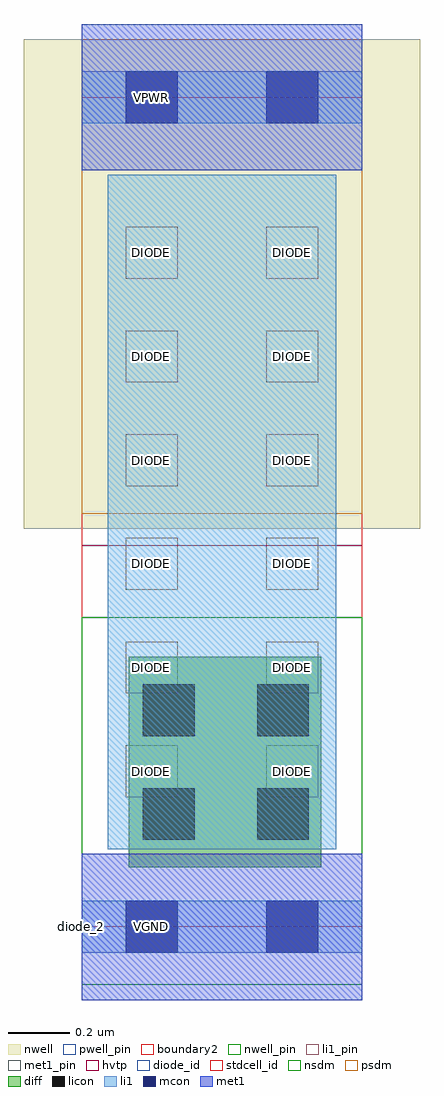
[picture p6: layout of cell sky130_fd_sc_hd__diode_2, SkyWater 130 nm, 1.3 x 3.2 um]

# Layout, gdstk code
import gdstk
lib = gdstk.Library(unit=1e-6, precision=1e-09)
def R(c, l, rs):  # rectangles x0, y0, x1, y1
    for r in rs: c.add(gdstk.rectangle(r[:2], r[2:], *l))
def A(c, l, x, y, w, h, nx, ny, dx, dy):  # array of equal rectangles
    R(c, l, [(x+i*dx, y+j*dy, x+i*dx+w, y+j*dy+h) for i in range(nx) for j in range(ny)])
nwell_pin = (64, 16)
nwell = (64, 20)
diff = (65, 20)
licon = (66, 44)
li1_pin = (67, 16)
li1 = (67, 20)
mcon = (67, 44)
met1_pin = (68, 16)
met1 = (68, 20)
hvtp = (78, 44)
stdcell_id = (81, 4)
diode_id = (81, 23)
nsdm = (93, 44)
psdm = (94, 20)
pwell_pin = (122, 16)
boundary2 = (236, 0)

sky130_fd_sc_hd__diode_2 = lib.new_cell('sky130_fd_sc_hd__diode_2')
R(sky130_fd_sc_hd__diode_2, nwell_pin, [(0.145,2.635,0.315,2.805)])
R(sky130_fd_sc_hd__diode_2, nwell, [(-0.19,1.305,1.11,2.91)])
R(sky130_fd_sc_hd__diode_2, diff, [(0.155,0.195,0.785,0.885)])
R(sky130_fd_sc_hd__diode_2, licon, [(0.2,0.285,0.37,0.455), (0.575,0.285,0.745,0.455), (0.2,0.625,0.37,0.795), (0.575,0.625,0.745,0.795)])
A(sky130_fd_sc_hd__diode_2, li1_pin, 0.145, 0.425, 0.17, 0.17, 1, 6, 0, 0.34)
A(sky130_fd_sc_hd__diode_2, li1_pin, 0.605, 0.425, 0.17, 0.17, 1, 6, 0, 0.34)
R(sky130_fd_sc_hd__diode_2, li1, [(0.085,0.255,0.835,2.465)])
R(sky130_fd_sc_hd__diode_2, mcon, [(0.145,-0.085,0.315,0.085), (0.605,-0.085,0.775,0.085), (0.145,2.635,0.315,2.805), (0.605,2.635,0.775,2.805)])
R(sky130_fd_sc_hd__diode_2, met1_pin, [(0.145,-0.085,0.315,0.085), (0.145,2.635,0.315,2.805)])
R(sky130_fd_sc_hd__diode_2, hvtp, [(0,1.25,0.92,2.72)])
R(sky130_fd_sc_hd__diode_2, stdcell_id, [(0,0,0.92,2.72)])
R(sky130_fd_sc_hd__diode_2, diode_id, [(0.155,0.195,0.785,0.885)])
R(sky130_fd_sc_hd__diode_2, nsdm, [(0,-0.19,0.92,1.015)])
R(sky130_fd_sc_hd__diode_2, psdm, [(0,1.355,0.92,2.91)])
R(sky130_fd_sc_hd__diode_2, pwell_pin, [(0.145,-0.085,0.315,0.085)])
R(sky130_fd_sc_hd__diode_2, boundary2, [(0,0,0.92,2.72)])
sky130_fd_sc_hd__diode_2.add(gdstk.FlexPath([(0,0),(0.92,0)], 0.48, ends="flush", simple_path=True, layer=68, datatype=20))  # met1
sky130_fd_sc_hd__diode_2.add(gdstk.FlexPath([(0,2.72),(0.92,2.72)], 0.48, ends="flush", simple_path=True, layer=68, datatype=20))  # met1
sky130_fd_sc_hd__diode_2.add(gdstk.FlexPath([(0,2.72),(0.92,2.72)], 0.17, ends="flush", simple_path=True, layer=67, datatype=20))  # li1
sky130_fd_sc_hd__diode_2.add(gdstk.FlexPath([(0,0),(0.92,0)], 0.17, ends="flush", simple_path=True, layer=67, datatype=20))  # li1
sky130_fd_sc_hd__diode_2.add(gdstk.Label('DIODE', (0.69,0.51), layer=67, texttype=5))
sky130_fd_sc_hd__diode_2.add(gdstk.Label('DIODE', (0.69,1.87), layer=67, texttype=5))
sky130_fd_sc_hd__diode_2.add(gdstk.Label('DIODE', (0.23,1.87), layer=67, texttype=5))
sky130_fd_sc_hd__diode_2.add(gdstk.Label('DIODE', (0.69,2.21), layer=67, texttype=5))
sky130_fd_sc_hd__diode_2.add(gdstk.Label('DIODE', (0.23,2.21), layer=67, texttype=5))
sky130_fd_sc_hd__diode_2.add(gdstk.Label('DIODE', (0.23,1.53), layer=67, texttype=5))
sky130_fd_sc_hd__diode_2.add(gdstk.Label('DIODE', (0.69,1.53), layer=67, texttype=5))
sky130_fd_sc_hd__diode_2.add(gdstk.Label('DIODE', (0.23,1.19), layer=67, texttype=5))
sky130_fd_sc_hd__diode_2.add(gdstk.Label('DIODE', (0.69,1.19), layer=67, texttype=5))
sky130_fd_sc_hd__diode_2.add(gdstk.Label('DIODE', (0.69,0.85), layer=67, texttype=5))
sky130_fd_sc_hd__diode_2.add(gdstk.Label('DIODE', (0.23,0.85), layer=67, texttype=5))
sky130_fd_sc_hd__diode_2.add(gdstk.Label('DIODE', (0.23,0.51), layer=67, texttype=5))
sky130_fd_sc_hd__diode_2.add(gdstk.Label('VGND', (0.23,0), layer=68, texttype=5))
sky130_fd_sc_hd__diode_2.add(gdstk.Label('VPWR', (0.23,2.72), layer=68, texttype=5))
sky130_fd_sc_hd__diode_2.add(gdstk.Label('VPB', (0.23,2.72), layer=64, texttype=5))
sky130_fd_sc_hd__diode_2.add(gdstk.Label('VNB', (0.23,0), layer=64, texttype=59))
sky130_fd_sc_hd__diode_2.add(gdstk.Label('diode_2', (0,0), layer=83, texttype=44))

lib.write_gds('sky130_fd_sc_hd__diode_2.gds')
